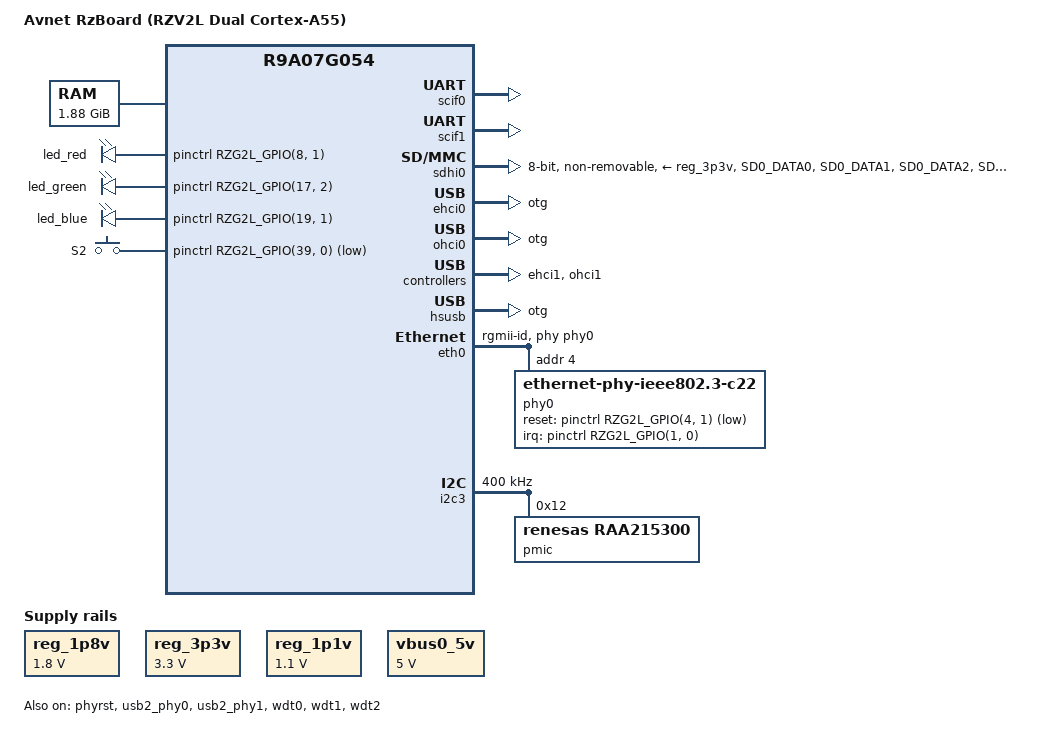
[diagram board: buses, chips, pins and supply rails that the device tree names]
// SPDX-License-Identifier: GPL-2.0
/*
 * Device Tree Source for the Avnet RzBoard (RZV2L Dual Cortex-A55)
 *
 * Copyright (C) 2022 Avnet Corp.
 */

/dts-v1/;

#include "r9a07g054l2.dtsi"
#include <dt-bindings/gpio/gpio.h>
#include <dt-bindings/pinctrl/rzg2l-pinctrl.h>
#include <dt-bindings/input/input.h>

/ {
	model = "Avnet RzBoard (RZV2L Dual Cortex-A55)";
	compatible = "avnet,rzboard", "renesas,r9a07g054";

	aliases {
		ethernet0 = &eth0;
		i2c0 = &i2c0;
		i2c1 = &i2c1;
		i2c3 = &i2c3;
		mmc0 = &sdhi0;
		mmc1 = &sdhi1;
		serial0 = &scif0; /* console */
		serial1 = &scif1; /* BLE module */
	};

	chosen {
		bootargs = "ignore_loglevel";
		stdout-path = "serial0:115200n8";
	};

	memory@48000000 {
		device_type = "memory";
		/* first 128MB is reserved for secure area. */
		reg = <0x0 0x48000000 0x0 0x78000000>;
	};


	reserved-memory {
		#address-cells = <2>;
		#size-cells = <2>;
		ranges;

		global_cma: linux,cma@58000000 {
			compatible = "shared-dma-pool";
			linux,cma-default;
			reusable;
			reg = <0x0 0x58000000 0x0 0x10000000>;
		};

		mmp_reserved: linux,multimedia {
			compatible = "shared-dma-pool";
			reusable;
			reg = <0x00000000 0x68000000 0x0 0x8000000>;
		};

		/* device specific region for contiguous allocations */
		drp_reserved: DRP-AI {
			reusable;
			reg = <0x0 0x80000000 0x0 0x20000000>;
		};

		image_buf0: image_buf@0 {
			compatible = "shared-dma-pool";
			reusable;
			reg = <0x0 0xB0000000 0x0 0x04000000>;
			label = "image_buf0";
		};

		isp_work0: SIMPLE_ISP {
			reusable;
			reg = <0x0 0xB4000000 0x0 0x03000000>;
		};
	};

	udmabuf@0 {
		compatible = "ikwzm,u-dma-buf";
		device-name = "udmabuf0";
		minor-number = <0>;
		size = <0x4000000>; /* 64MiB */
		dma-coherent;
		memory-region = <&image_buf0>;
	};

	mmngr {
		compatible = "renesas,mmngr";
		memory-region = <&mmp_reserved>;
	};

	mmngrbuf {
		compatible = "renesas,mmngrbuf";
	};

	vspm_if {
		compatible = "renesas,vspm_if";
	};

	reg_1p8v: regulator0 {
		compatible = "regulator-fixed";
		regulator-name = "fixed-1.8V";
		regulator-min-microvolt = <1800000>;
		regulator-max-microvolt = <1800000>;
		regulator-boot-on;
		regulator-always-on;
	};

	reg_3p3v: regulator1 {
		compatible = "regulator-fixed";
		regulator-name = "fixed-3.3V";
		regulator-min-microvolt = <3300000>;
		regulator-max-microvolt = <3300000>;
		regulator-boot-on;
		regulator-always-on;
	};
	
	reg_1p1v: regulator-vdd-core {
		compatible = "regulator-fixed";
		regulator-name = "fixed-1.1V";
		regulator-min-microvolt = <1100000>;
		regulator-max-microvolt = <1100000>;
		regulator-boot-on;
		regulator-always-on;
	};

	vbus0_5v: regulator-vbus0-usb {
		compatible = "regulator-fixed";
		regulator-name = "USB2_VBUS0";
		regulator-min-microvolt = <5000000>;
		regulator-max-microvolt = <5000000>;
	};

	x1_clk: x1-clock {
		compatible = "fixed-clock";
		#clock-cells = <0>;
		clock-frequency = <24000000>;
	};

	leds {
		compatible = "gpio-leds";
		led_red {
			gpios = <&pinctrl RZG2L_GPIO(8, 1) GPIO_ACTIVE_HIGH>;
			default-state = "off";
		};

		led_green {
			gpios = <&pinctrl RZG2L_GPIO(17, 2) GPIO_ACTIVE_HIGH>;
			default-state = "off";
		};

		led_blue {
			gpios = <&pinctrl RZG2L_GPIO(19, 1) GPIO_ACTIVE_HIGH>;
			linux,default-trigger = "heartbeat";
			default-state = "on";
		};
	};

	/* RZ/V2L don't support both falling-edge and rising-edge detect */
	keys {
		compatible = "gpio-keys";
		user_key {
			label = "S2";
			linux,code = <KEY_1>;
			debounce-interval = <20>;
			gpios = <&pinctrl RZG2L_GPIO(39, 0) GPIO_ACTIVE_LOW>;
		};
	};
};

&extal_clk {
	clock-frequency = <24000000>;
};

/* for console */
&scif0 {
	pinctrl-0 = <&scif0_pins>;
	pinctrl-names = "default";
	status = "okay";
};

&scif1 {
	pinctrl-0 = <&scif1_pins>;
	pinctrl-names = "default";
	uart-has-rtscts;
	status = "okay";
};

/* for both 16Gb eMMC and external uSD card */
&sdhi0 {
	pinctrl-0 = <&sdhi0_emmc_pins>;
	pinctrl-1 = <&sdhi0_emmc_pins>;
	pinctrl-names = "default", "state_uhs";

	vmmc-supply = <&reg_3p3v>;
	vqmmc-supply = <&reg_1p8v>;
	bus-width = <8>;
	non-removable;
	fixed-emmc-driver-type = <1>;
	status = "okay";
};

&ehci0 {
	memory-region = <&global_cma>;
	dr_mode = "otg";
	status = "okay";
};

&ohci0 {
	memory-region = <&global_cma>;
	dr_mode = "otg";
	status = "okay";
};

&ehci1 {
	memory-region = <&global_cma>;
	status = "okay";
};

&ohci1 {
	memory-region = <&global_cma>;
	status = "okay";
};

&hsusb {
	dr_mode = "otg";
	status = "okay";
};

&phyrst {
	status = "okay";
};

&usb2_phy0 {
	pinctrl-0 = <&usb0_pins>;
	pinctrl-names = "default";

	vbus-supply = <&vbus0_5v>;
	status = "okay";
};

&usb2_phy1 {
	pinctrl-0 = <&usb1_pins>;
	pinctrl-names = "default";
	status = "okay";
};

&eth0 {
	pinctrl-0 = <&eth0_pins>;
	pinctrl-names = "default";
	phy-handle = <&phy0>;
	phy-mode = "rgmii-id";
	status = "okay";

	phy0: ethernet-phy@4 {
		compatible = "ethernet-phy-ieee802.3-c22";
		reg = <4>;
		reset-gpios = <&pinctrl RZG2L_GPIO(4, 1) GPIO_ACTIVE_LOW>;
		interrupt-parent = <&pinctrl>;
		interrupts = <RZG2L_GPIO(1, 0) IRQ_TYPE_LEVEL_LOW>;
	};
};

&wdt0 {
	status = "okay";
	timeout-sec = <60>;
};

&wdt1 {
	status = "okay";
	timeout-sec = <60>;
};

&wdt2 {
	status = "okay";
	timeout-sec = <60>;
};

&i2c3 {
	pinctrl-0 = <&i2c3_pins>;
	pinctrl-names = "default";
	clock-frequency = <400000>;
	status = "okay";

	pmic: raa215300@12 {
		compatible = "renesas,raa215300";
		reg = <0x12>;

		rtc-enable;
	};
};

&pinctrl {

	scif0_pins: scif0 {
		pinmux = <RZG2L_PORT_PINMUX(38, 0, 1)>,	/* TxD */
			 <RZG2L_PORT_PINMUX(38, 1, 1)>;	/* RxD */
	};

	scif1_pins: scif1 {
		pinmux = <RZG2L_PORT_PINMUX(40, 0, 1)>, /* TxD */
			 <RZG2L_PORT_PINMUX(40, 1, 1)>, /* RxD */
			 <RZG2L_PORT_PINMUX(41, 0, 1)>, /* CTS# */
			 <RZG2L_PORT_PINMUX(41, 1, 1)>; /* RTS# */
	};

	i2c3_pins: i2c3 {
		pinmux = <RZG2L_PORT_PINMUX(18, 0, 3)>, /* SDA */
			 <RZG2L_PORT_PINMUX(18, 1, 3)>; /* SCL */
	};

	usb0_pins: usb0 {
		pinmux = <RZG2L_PORT_PINMUX(4, 0, 1)>, /* VBUS */
			 <RZG2L_PORT_PINMUX(5, 0, 1)>, /* OVC */
			 <RZG2L_PORT_PINMUX(5, 1, 1)>; /* OTG_ID */
	};

	usb1_pins: usb1 {
		pinmux = <RZG2L_PORT_PINMUX(42, 0, 1)>, /* VBUS */
			 <RZG2L_PORT_PINMUX(42, 1, 1)>; /* OVC */
	};

	sdhi0_emmc_pins: sd0emmc {
		sd0_emmc_data {
			pins = "SD0_DATA0", "SD0_DATA1", "SD0_DATA2", "SD0_DATA3",
			       "SD0_DATA4", "SD0_DATA5", "SD0_DATA6", "SD0_DATA7";
			power-source = <1800>;
		};

		sd0_emmc_ctrl {
			pins = "SD0_CLK", "SD0_CMD";
			power-source = <1800>;
		};

		sd0_emmc_rst {
			pins = "SD0_RST#";
			power-source = <1800>;
		};
	};

	sdhi1_pins: sd1 {
		sd1_data {
			pins = "SD1_DATA0", "SD1_DATA1", "SD1_DATA2", "SD1_DATA3";
			power-source = <3300>;
		};

		sd1_ctrl {
			pins = "SD1_CLK", "SD1_CMD";
			power-source = <3300>;
		};
	};

	sdhi1_pins_uhs: sd1_uhs {
		sd1_data_uhs {
			pins = "SD1_DATA0", "SD1_DATA1", "SD1_DATA2", "SD1_DATA3";
			power-source = <1800>;
		};

		sd1_ctrl_uhs {
			pins = "SD1_CLK", "SD1_CMD";
			power-source = <1800>;
		};
	};

	eth0_pins: eth0 {
		pinmux = <RZG2L_PORT_PINMUX(28, 1, 1)>, /* ET0_LINKSTA */
			 <RZG2L_PORT_PINMUX(27, 1, 1)>, /* ET0_MDC */
			 <RZG2L_PORT_PINMUX(28, 0, 1)>, /* ET0_MDIO */
			 <RZG2L_PORT_PINMUX(20, 0, 1)>, /* ET0_TXC */
			 <RZG2L_PORT_PINMUX(20, 1, 1)>, /* ET0_TX_CTL */
			 <RZG2L_PORT_PINMUX(20, 2, 1)>, /* ET0_TXD0 */
			 <RZG2L_PORT_PINMUX(21, 0, 1)>, /* ET0_TXD1 */
			 <RZG2L_PORT_PINMUX(21, 1, 1)>, /* ET0_TXD2 */
			 <RZG2L_PORT_PINMUX(22, 0, 1)>, /* ET0_TXD3 */
			 <RZG2L_PORT_PINMUX(24, 0, 1)>, /* ET0_RXC */
			 <RZG2L_PORT_PINMUX(24, 1, 1)>, /* ET0_RX_CTL */
			 <RZG2L_PORT_PINMUX(25, 0, 1)>, /* ET0_RXD0 */
			 <RZG2L_PORT_PINMUX(25, 1, 1)>, /* ET0_RXD1 */
			 <RZG2L_PORT_PINMUX(26, 0, 1)>, /* ET0_RXD2 */
			 <RZG2L_PORT_PINMUX(26, 1, 1)>; /* ET0_RXD3 */
	};
};
